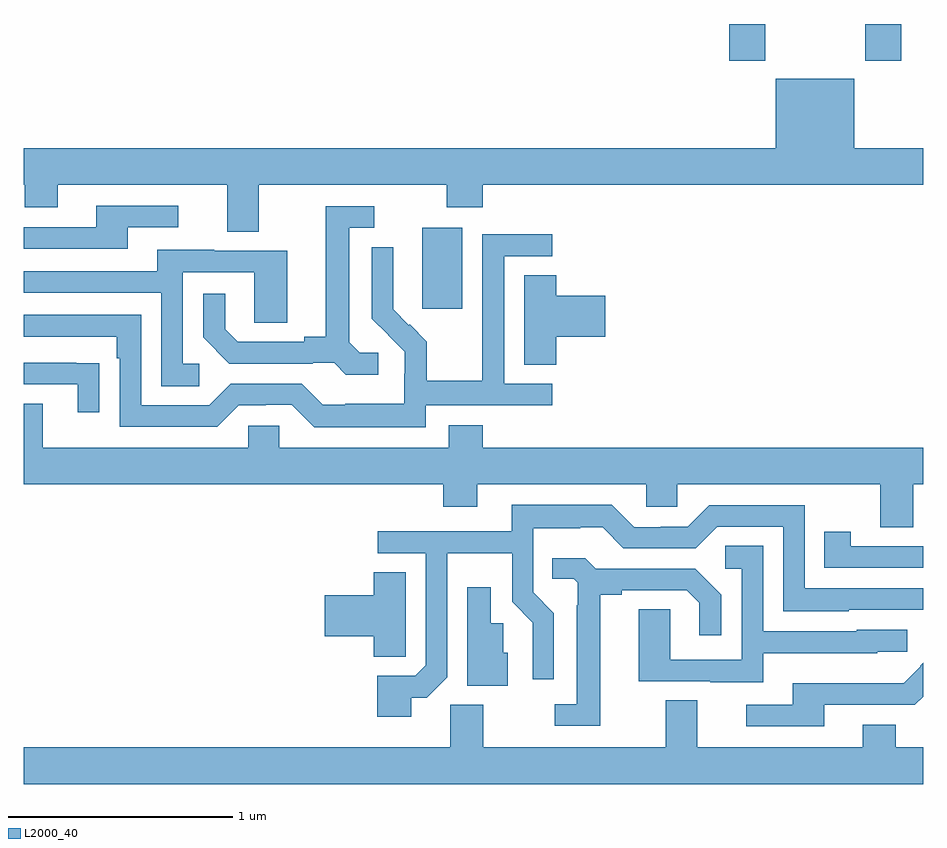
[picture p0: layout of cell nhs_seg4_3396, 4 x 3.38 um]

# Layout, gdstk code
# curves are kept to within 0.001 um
import gdstk
lib = gdstk.Library(unit=1e-6, precision=1e-09)
def R(c, l, rs):  # rectangles x0, y0, x1, y1
    for r in rs: c.add(gdstk.rectangle(r[:2], r[2:], *l))
def P(c, l, *ps):  # polygons
    for p in ps: c.add(gdstk.Polygon(p, *l))
L2000_40 = (2000, 40)

nhs_seg4_3396 = lib.new_cell('nhs_seg4_3396')
R(nhs_seg4_3396, L2000_40, [(292.772,765.633,292.951,765.994), (294.137,766.737,294.297,766.9), (294.742,766.737,294.902,766.9)])
P(nhs_seg4_3396, L2000_40, [(292.045,766.184),(292.882,766.184),(292.882,766.085),(293.042,766.085),(293.042,766.184),(295,766.184),(295,766.348),(294.694,766.348),(294.694,766.657),(294.344,766.657),(294.344,766.348),(291,766.348),(291,766.184),(291.004,766.184),(291.004,766.085),(291.151,766.085),(291.151,766.184),(291.905,766.184),(291.905,765.976),(292.045,765.976)],
  [(291.463,765.996),(291.688,765.996),(291.688,766.092),(291.323,766.092),(291.323,765.996),(291,765.996),(291,765.9),(291.463,765.9)],
  [(292.576,765.438),(292.494,765.438),(292.447,765.485),(292.447,765.993),(292.558,765.993),(292.558,766.089),(292.343,766.089),(292.343,765.509),(292.247,765.509),(292.247,765.486),(291.952,765.486),(291.895,765.543),(291.895,765.7),(291.798,765.7),(291.798,765.506),(291.914,765.39),(292.286,765.39),(292.286,765.393),(292.38,765.393),(292.432,765.341),(292.576,765.341)],
  [(292.788,765.204),(293.35,765.204),(293.35,765.3),(293.136,765.3),(293.136,765.867),(293.35,765.867),(293.35,765.966),(293.04,765.966),(293.04,765.536),(293.038,765.536),(293.038,765.313),(292.793,765.313),(292.793,765.487),(292.716,765.564),(292.713,765.561),(292.643,765.632),(292.644,765.908),(292.548,765.908),(292.548,765.59),(292.694,765.442),(292.694,765.345),(292.692,765.345),(292.692,765.211),(292.429,765.211),(292.429,765.207),(292.329,765.207),(292.236,765.3),(291.921,765.3),(291.825,765.204),(291.522,765.204),(291.522,765.606),(291,765.606),(291,765.51),(291.413,765.51),(291.413,765.413),(291.426,765.413),(291.426,765.108),(291.861,765.108),(291.957,765.204),(292.076,765.204),(292.076,765.207),(292.191,765.207),(292.291,765.107),(292.788,765.107)],
  [(291.781,765.39),(291.708,765.39),(291.708,765.795),(292.026,765.795),(292.026,765.571),(292.171,765.571),(292.171,765.891),(291.847,765.891),(291.847,765.895),(291.593,765.895),(291.593,765.801),(291,765.801),(291,765.705),(291.612,765.705),(291.612,765.289),(291.781,765.289)],
  [(293.369,765.509),(293.587,765.509),(293.587,765.692),(293.369,765.692),(293.369,765.782),(293.225,765.782),(293.225,765.385),(293.369,765.385)],
  [(291.335,765.392),(291.233,765.392),(291.233,765.393),(291,765.393),(291,765.297),(291.239,765.297),(291.239,765.174),(291.335,765.174)],
  [(294.955,764.852),(295,764.852),(295,765.016),(293.042,765.016),(293.042,765.115),(292.889,765.115),(292.889,765.016),(292.137,765.016),(292.137,765.114),(291.999,765.114),(291.999,765.016),(291.085,765.016),(291.085,765.211),(291,765.211),(291,764.852),(292.865,764.852),(292.865,764.753),(293.017,764.753),(293.017,764.852),(293.769,764.852),(293.769,764.754),(293.907,764.754),(293.907,764.852),(294.808,764.852),(294.808,764.662),(294.955,764.662)],
  [(292.723,763.903),(292.791,763.903),(292.884,763.995),(292.884,764.546),(293.172,764.546),(293.172,764.33),(293.264,764.238),(293.264,763.986),(293.358,763.986),(293.358,764.28),(293.265,764.373),(293.265,764.657),(293.474,764.657),(293.474,764.661),(293.574,764.661),(293.667,764.568),(293.988,764.568),(294.084,764.664),(294.378,764.664),(294.378,764.288),(294.669,764.288),(294.669,764.295),(295,764.295),(295,764.391),(294.474,764.391),(294.474,764.76),(294.048,764.76),(293.952,764.664),(293.832,764.664),(293.832,764.661),(293.715,764.661),(293.615,764.761),(293.171,764.761),(293.171,764.643),(292.575,764.643),(292.575,764.547),(292.788,764.547),(292.788,764.049),(292.74,764.001),(292.571,764.001),(292.571,763.818),(292.723,763.818)],
  [(295,764.577),(294.678,764.577),(294.678,764.641),(294.559,764.641),(294.559,764.481),(295,764.481)],
  [(294.289,764.102),(294.795,764.102),(294.795,764.109),(294.93,764.109),(294.93,764.205),(294.705,764.205),(294.705,764.199),(294.288,764.199),(294.288,764.579),(294.12,764.579),(294.12,764.478),(294.192,764.478),(294.192,764.073),(293.874,764.073),(293.874,764.297),(293.735,764.297),(293.735,763.977),(294.053,763.977),(294.053,763.973),(294.289,763.973)],
  [(293.563,764.362),(293.659,764.362),(293.659,764.382),(293.948,764.382),(294.005,764.325),(294.005,764.181),(294.102,764.181),(294.102,764.362),(293.986,764.478),(293.544,764.478),(293.496,764.525),(293.35,764.525),(293.35,764.433),(293.445,764.433),(293.463,764.415),(293.463,764.315),(293.459,764.315),(293.459,763.875),(293.361,763.875),(293.361,763.779),(293.563,763.779)],
  [(292.698,764.194),(292.699,764.194),(292.699,764.462),(292.556,764.462),(292.556,764.36),(292.338,764.36),(292.338,764.177),(292.556,764.177),(292.556,764.086),(292.698,764.086)],
  [(293.152,764.103),(293.133,764.103),(293.133,764.235),(293.077,764.235),(293.077,764.395),(292.973,764.395),(292.973,763.958),(293.152,763.958)],
  [(294.559,763.872),(294.963,763.872),(295,763.909),(295,764.059),(294.987,764.046),(294.99,764.043),(294.914,763.967),(294.812,763.967),(294.812,763.969),(294.419,763.969),(294.419,763.872),(294.213,763.872),(294.213,763.776),(294.559,763.776)],
  [(295,763.684),(294.879,763.684),(294.879,763.783),(294.731,763.783),(294.731,763.684),(293.995,763.684),(293.995,763.892),(293.855,763.892),(293.855,763.684),(293.043,763.684),(293.043,763.873),(292.896,763.873),(292.896,763.684),(291,763.684),(291,763.52),(295,763.52)])

lib.write_gds('nhs_seg4_3396.gds')
